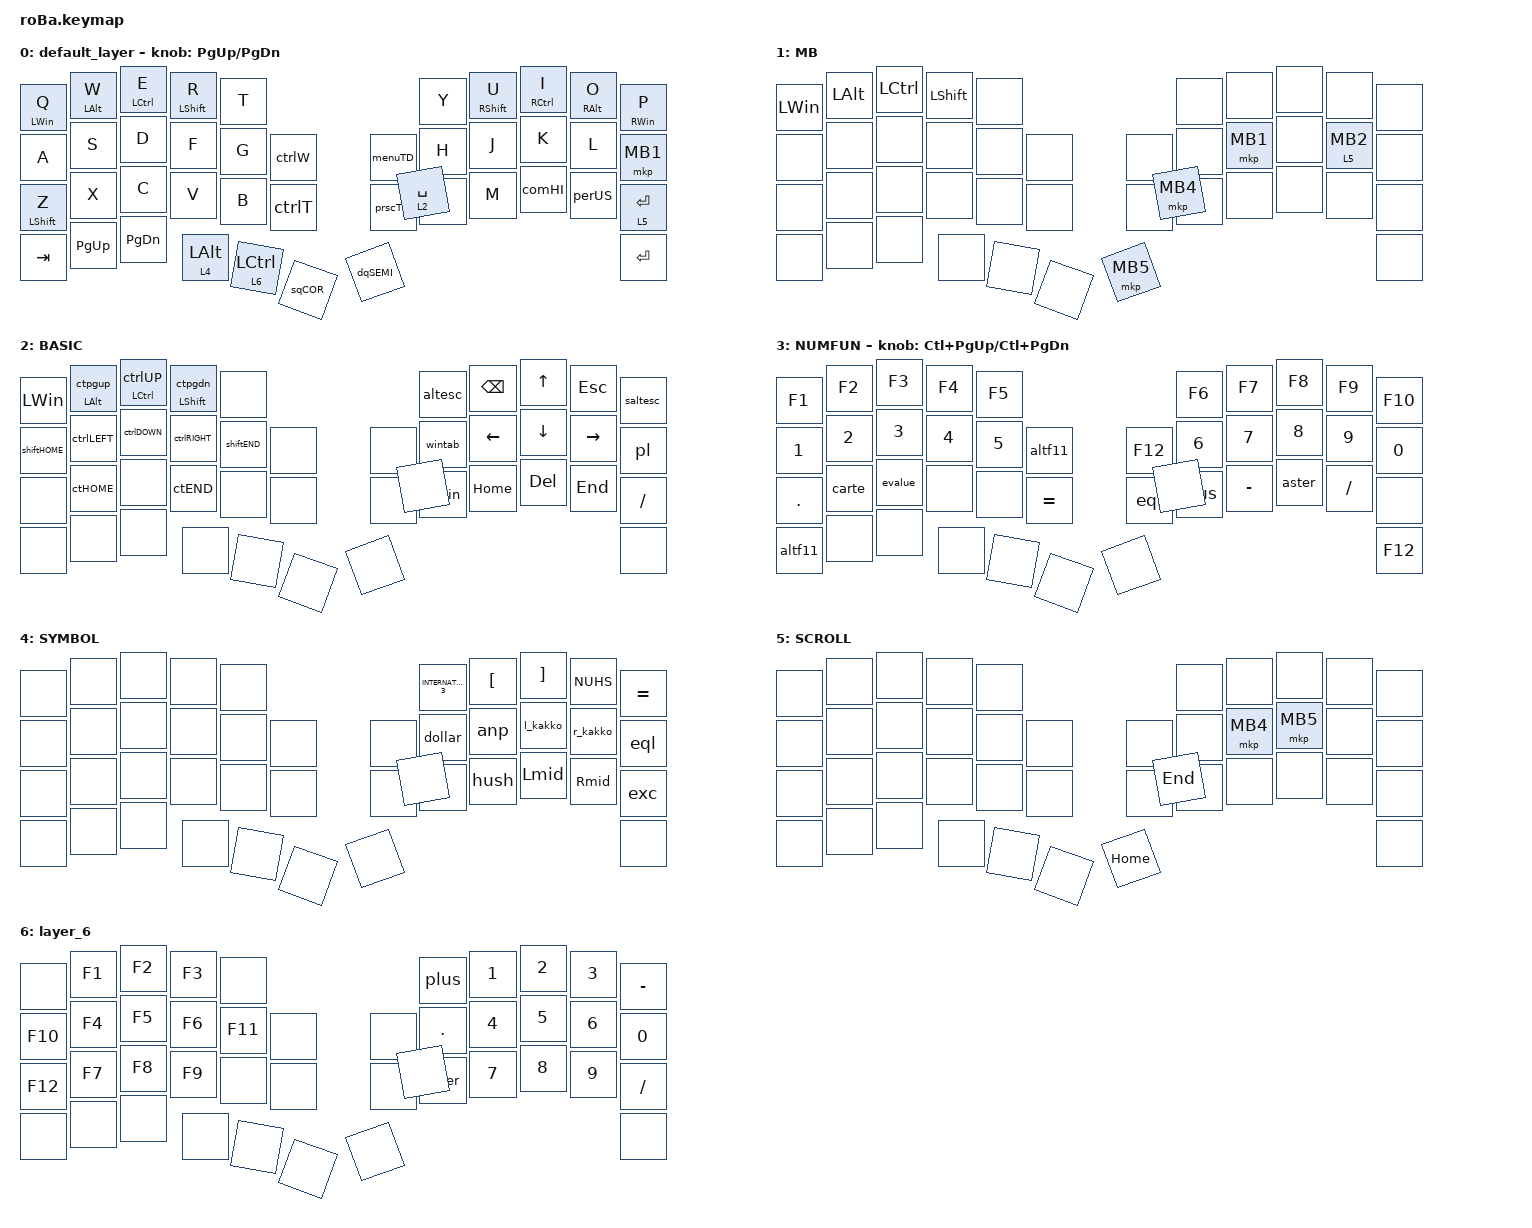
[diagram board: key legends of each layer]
#include <behaviors.dtsi>
#include <dt-bindings/zmk/keys.h>
#include <dt-bindings/zmk/pointing.h>

&mt {
    flavor = "balanced";
    quick-tap-ms = <0>;
};

&trackball {
    //    automouse-layer = <4>;

    scroll-layers = <5>;

    // arrows {
    //     layers = <3>;
    //     bindings =
    //         <&kp RIGHT_ARROW>,
    //         <&kp LEFT_ARROW>,
    //         <&kp UP_ARROW>,
    //         <&kp DOWN_ARROW>;
    //     tick = <10>;
    //     wait-ms = <5>;
    //     tap-ms = <5>;
    // };
};

/ {
    combos {
        compatible = "zmk,combos";

        endApp {
            bindings = <&altF4>;
            key-positions = <18 41>;
        };

        skey {
            bindings = <&sk LSHFT>;
            key-positions = <18 19>;
        };

        cw {
            bindings = <&CW>;
            key-positions = <6 7>;
        };

        inputMODE {
            bindings = <&kp GRAVE>;
            key-positions = <13 18>;
        };
    };

    behaviors {
        /* encoder_msc_down_up: encoder_msc_down_up {
            compatible = "zmk,behavior-sensor-rotate";
            label = "ENCODER_MSC_DOWN_UP";
            #sensor-binding-cells = <0>;
            bindings = <&msc SCRL_UP>, <&msc SCRL_DOWN>;

            tap-ms = <20>;
        }; */

        ctPLMI: ctPLMI {
            compatible = "zmk,behavior-sensor-rotate";
            label = "CTPLMI";
            #sensor-binding-cells = <0>;
            bindings = <&ctrlPLUS>, <&ctrlMINUS>;

            tap-ms = <20>;
        };

        idpass: idpass {
            compatible = "zmk,behavior-sensor-rotate";
            label = "IDPASS";
            #sensor-binding-cells = <0>;
            bindings = <&carte>, <&evalue>;

            tap-ms = <20>;
        };

        appch: appch {
            compatible = "zmk,behavior-sensor-rotate";
            label = "APPCH";
            #sensor-binding-cells = <0>;
            bindings = <&altesc>, <&saltesc>;

            tap-ms = <20>;
        };

        L_HRM: L_HRM {
            compatible = "zmk,behavior-hold-tap";
            label = "L_HRM";
            bindings = <&kp>, <&kp>;

            #binding-cells = <2>;
            tapping-term-ms = <400>;
            quick-tap-ms = <175>;
            require-prior-idle-ms = <200>;
            flavor = "balanced";
            hold-trigger-key-positions = <5 6 7 8 9 17 18 19 20 21 29 30 31 32 33 41 42 16 28 40>;
            hold-trigger-on-release;
        };

        R_HRM: R_HRM {
            compatible = "zmk,behavior-hold-tap";
            label = "R_HRM";
            bindings = <&kp>, <&kp>;

            #binding-cells = <2>;
            tapping-term-ms = <400>;
            quick-tap-ms = <175>;
            require-prior-idle-ms = <200>;
            flavor = "balanced";
            hold-trigger-key-positions = <0 1 2 3 4 10 11 12 13 14 15 22 23 24 25 26 27 34 35 36 37 38 39>;
            hold-trigger-on-release;
        };

        ML_SP: ML_SP {
            compatible = "zmk,behavior-hold-tap";
            label = "ML_SP";
            bindings = <&mo>, <&kp>;

            #binding-cells = <2>;
            tapping-term-ms = <180>;
            quick-tap-ms = <150>;
            require-prior-idle-ms = <200>;
            flavor = "balanced";
            hold-trigger-key-positions = <18 20 41 40>;
            hold-trigger-on-release;
        };

        THUMB_MT: THUMB_MT {
            compatible = "zmk,behavior-hold-tap";
            label = "THUMB_MT";
            bindings = <&mt>, <&kp>;

            #binding-cells = <2>;
            tapping-term-ms = <200>;
            flavor = "balanced";
        };

        THUMB_MO: THUMB_MO {
            compatible = "zmk,behavior-hold-tap";
            label = "THUMB_MO";
            bindings = <&mo>, <&kp>;

            #binding-cells = <2>;
            tapping-term-ms = <170>;
            flavor = "hold-preferred";
            hold-trigger-key-positions = <5 6 7 8 9 17 18 19 20 21 29 30 31 32 33 41 42 16 28 40>;
            hold-trigger-on-release;
        };

        SL_SP1: SL_SP1 {
            compatible = "zmk,behavior-hold-tap";
            label = "SL_SP1";
            bindings = <&mo>, <&kp>;

            #binding-cells = <2>;
            tapping-term-ms = <180>;
            flavor = "balanced";
        };

        SL_SP2: SL_SP2 {
            compatible = "zmk,behavior-hold-tap";
            label = "SL_SP2";
            bindings = <&mo>, <&mkp>;

            #binding-cells = <2>;
            tapping-term-ms = <180>;
            flavor = "balanced";
        };

        CW: CW {
            compatible = "zmk,behavior-caps-word";
            label = "CW";
            #binding-cells = <0>;
            continue-list = <A B C D E F G H I J K L M N O P Q R S T U V W X Y Z N1 N2 N3 N4 N5 N6 N7 N8 N9 N0 INT_RO BACKSPACE KP_MINUS>;
            mods = <(MOD_LSFT)>;
        };

        SHIFTCTPGDN: SHIFTCTPGDN {
            compatible = "zmk,behavior-hold-tap";
            label = "SHIFTCTPGDN";
            bindings = <&kp>, <&ctpgdn>;

            #binding-cells = <2>;
            tapping-term-ms = <180>;
            flavor = "balanced";
        };

        LALTCTPGUP: LALTCTPGUP {
            compatible = "zmk,behavior-hold-tap";
            label = "LALTCTPGUP";
            bindings = <&kp>, <&ctpgup>;

            #binding-cells = <2>;
            tapping-term-ms = <180>;
            flavor = "balanced";
        };

        SPL5: SPL5 {
            compatible = "zmk,behavior-hold-tap";
            label = "SPL5";
            bindings = <&mo>, <&mkp>;

            #binding-cells = <2>;
            tapping-term-ms = <180>;
            flavor = "balanced";
        };

        cosdq: cosdq {
            compatible = "zmk,behavior-tap-dance";
            label = "COSDQ";
            #binding-cells = <0>;
            bindings = <&kp COMMA>, <&dq>;
        };

        perisq: perisq {
            compatible = "zmk,behavior-tap-dance";
            label = "PERISQ";
            #binding-cells = <0>;
            bindings = <&kp PERIOD>, <&sq>;
        };

        hius: hius {
            compatible = "zmk,behavior-tap-dance";
            label = "HIUS";
            #binding-cells = <0>;
            bindings = <&kp MINUS>, <&us>;
        };

        slpl: slpl {
            compatible = "zmk,behavior-tap-dance";
            label = "SLPL";
            #binding-cells = <0>;
            bindings = <&kp SLASH>, <&pl>;
        };

        menuTD: menuTD {
            compatible = "zmk,behavior-tap-dance";
            label = "MENUTD";
            #binding-cells = <0>;
            bindings = <&kp K_CONTEXT_MENU>, <&shiftapp>;
        };

        prscTD: prscTD {
            compatible = "zmk,behavior-tap-dance";
            label = "PRSCTD";
            #binding-cells = <0>;
            bindings = <&kp PRINTSCREEN>, <&altprsc>;
        };

        SL_SP: SL_SP {
            compatible = "zmk,behavior-hold-tap";
            label = "SL_SP";
            bindings = <&mo>, <&none>;

            #binding-cells = <2>;
            tapping-term-ms = <1>;
            flavor = "balanced";
        };

        SP_CTPGUP: SP_CTPGUP {
            compatible = "zmk,behavior-hold-tap";
            label = "SP_CTPGUP";
            bindings = <&kp>, <&ctpgup>;

            #binding-cells = <2>;
            tapping-term-ms = <180>;
            flavor = "balanced";
            hold-trigger-key-positions = <17 18 19 20 21>;
        };

        SP_CTUP: SP_CTUP {
            compatible = "zmk,behavior-hold-tap";
            label = "SP_CTUP";
            bindings = <&kp>, <&ctrlUP>;

            #binding-cells = <2>;
            tapping-term-ms = <180>;
            flavor = "balanced";
            hold-trigger-key-positions = <18 19 20 7>;
        };

        SP_CTPGDN: SP_CTPGDN {
            compatible = "zmk,behavior-hold-tap";
            label = "SP_CTPGDN";
            bindings = <&kp>, <&ctpgdn>;

            #binding-cells = <2>;
            tapping-term-ms = <180>;
            flavor = "balanced";
            hold-trigger-key-positions = <18 19 20 7>;
        };

        TD_MB4: TD_MB4 {
            compatible = "zmk,behavior-tap-dance";
            label = "TD_MB4";
            #binding-cells = <0>;
            bindings = <&SL_SP 5 MB2>, <&mkp MB2>, <&mkp MB4>, <&mkp MB5>;
        };

        RT_SP: RT_SP {
            compatible = "zmk,behavior-hold-tap";
            label = "RT_SP";
            bindings = <&mo>, <&kp>;

            #binding-cells = <2>;
            tapping-term-ms = <170>;
            flavor = "hold-preferred";
            hold-trigger-key-positions = <2 1 3 11 12 23 10 14 13 25 24 38 18 7 19 20 30 31 32 8 6 21 17 5>;
            hold-trigger-on-release;
        };

        sqCOR: sqCOR {
            compatible = "zmk,behavior-tap-dance";
            label = "SQCOR";
            #binding-cells = <0>;
            bindings = <&sq>, <&kp APOSTROPHE>;
        };

        dqSEMI: dqSEMI {
            compatible = "zmk,behavior-tap-dance";
            label = "DQSEMI";
            #binding-cells = <0>;
            bindings = <&dq>, <&kp SEMI>;
        };

        comHI: comHI {
            compatible = "zmk,behavior-tap-dance";
            label = "COMHI";
            #binding-cells = <0>;
            bindings = <&kp COMMA>, <&kp MINUS>;
        };

        perUS: perUS {
            compatible = "zmk,behavior-tap-dance";
            label = "PERUS";
            #binding-cells = <0>;
            bindings = <&kp PERIOD>, <&us>;
        };
    };

    macros {
        exc: exc {
            compatible = "zmk,behavior-macro";
            #binding-cells = <0>;
            bindings =
                <&macro_press>,
                <&kp LSHFT>,
                <&macro_wait_time 15>,
                <&kp NUMBER_1>,
                <&macro_release>,
                <&kp NUMBER_1 &kp LSHFT>;

            label = "EXC";
        };

        dq: dq {
            compatible = "zmk,behavior-macro";
            #binding-cells = <0>;
            bindings =
                <&macro_press>,
                <&kp LSHFT>,
                <&macro_wait_time 15>,
                <&kp NUMBER_2>,
                <&macro_release>,
                <&kp NUMBER_2 &kp LSHFT>;

            label = "DQ";
        };

        hush: hush {
            compatible = "zmk,behavior-macro";
            #binding-cells = <0>;
            bindings =
                <&macro_press>,
                <&kp LSHFT>,
                <&macro_wait_time 15>,
                <&kp NUMBER_3>,
                <&macro_release>,
                <&kp NUMBER_3 &kp LSHFT>;

            label = "HUSH";
        };

        dollar: dollar {
            compatible = "zmk,behavior-macro";
            #binding-cells = <0>;
            bindings =
                <&macro_press>,
                <&kp LSHFT>,
                <&macro_wait_time 15>,
                <&kp NUMBER_4>,
                <&macro_release>,
                <&kp NUMBER_4 &kp LSHFT>;

            label = "DOLLAR";
        };

        percent: percent {
            compatible = "zmk,behavior-macro";
            #binding-cells = <0>;
            bindings =
                <&macro_press>,
                <&kp LSHFT>,
                <&macro_wait_time 15>,
                <&kp N5>,
                <&macro_release>,
                <&kp N5 &kp LSHFT>;

            label = "PERCENT";
        };

        anp: anp {
            compatible = "zmk,behavior-macro";
            #binding-cells = <0>;
            bindings =
                <&macro_press>,
                <&kp LSHFT>,
                <&macro_wait_time 15>,
                <&kp NUMBER_6>,
                <&macro_release>,
                <&kp NUMBER_6 &kp LSHFT>;

            label = "ANP";
        };

        sq: sq {
            compatible = "zmk,behavior-macro";
            #binding-cells = <0>;
            bindings =
                <&macro_press>,
                <&kp LSHFT>,
                <&macro_wait_time 15>,
                <&kp N7>,
                <&macro_release>,
                <&kp N7 &kp LSHFT>;

            label = "SQ";
        };

        l_kakko: l_kakko {
            compatible = "zmk,behavior-macro";
            #binding-cells = <0>;
            bindings =
                <&macro_press>,
                <&kp LSHFT>,
                <&macro_wait_time 15>,
                <&kp N8>,
                <&macro_release>,
                <&kp N8 &kp LSHFT>;

            label = "L_KAKKO";
        };

        r_kakko: r_kakko {
            compatible = "zmk,behavior-macro";
            #binding-cells = <0>;
            bindings =
                <&macro_press>,
                <&kp LSHFT>,
                <&macro_wait_time 15>,
                <&kp N9>,
                <&macro_release>,
                <&kp N9 &kp LSHFT>;

            label = "R_KAKKO";
        };

        us: us {
            compatible = "zmk,behavior-macro";
            #binding-cells = <0>;
            bindings =
                <&macro_press>,
                <&kp LSHFT>,
                <&macro_wait_time 15>,
                <&kp INTERNATIONAL_1>,
                <&macro_release>,
                <&kp INTERNATIONAL_1 &kp LSHFT>;

            label = "US";
        };

        pl: pl {
            compatible = "zmk,behavior-macro";
            #binding-cells = <0>;
            bindings =
                <&macro_press>,
                <&kp LSHFT>,
                <&macro_wait_time 15>,
                <&kp INTERNATIONAL_3>,
                <&macro_release>,
                <&kp INTERNATIONAL_3 &kp LSHFT>;

            label = "PL";
        };

        eql: eql {
            compatible = "zmk,behavior-macro";
            #binding-cells = <0>;
            bindings =
                <&macro_press>,
                <&kp LSHFT>,
                <&macro_wait_time 15>,
                <&kp MINUS>,
                <&macro_release>,
                <&kp MINUS &kp LSHFT>;

            label = "EQL";
        };

        tilde: tilde {
            compatible = "zmk,behavior-macro";
            #binding-cells = <0>;
            bindings =
                <&macro_press>,
                <&kp LSHFT>,
                <&macro_wait_time 15>,
                <&kp EQUAL>,
                <&macro_release>,
                <&kp EQUAL &kp LSHFT>;

            label = "TILDE";
        };

        plus: plus {
            compatible = "zmk,behavior-macro";
            #binding-cells = <0>;
            bindings =
                <&macro_press>,
                <&kp LSHFT>,
                <&macro_wait_time 15>,
                <&kp SEMI>,
                <&macro_release>,
                <&kp SEMI &kp LSHFT>;

            label = "PLUS";
        };

        aster: aster {
            compatible = "zmk,behavior-macro";
            #binding-cells = <0>;
            bindings =
                <&macro_press>,
                <&kp LSHFT>,
                <&macro_wait_time 15>,
                <&kp SINGLE_QUOTE>,
                <&macro_release>,
                <&kp SINGLE_QUOTE &kp LSHFT>;

            label = "ASTER";
        };

        altesc: altesc {
            compatible = "zmk,behavior-macro";
            #binding-cells = <0>;
            bindings =
                <&macro_press>,
                <&kp LEFT_ALT>,
                <&macro_wait_time 15>,
                <&kp ESCAPE>,
                <&macro_release>,
                <&kp ESCAPE &kp LEFT_ALT>;

            label = "ALTESC";
        };

        saltesc: saltesc {
            compatible = "zmk,behavior-macro";
            #binding-cells = <0>;
            bindings =
                <&macro_press>,
                <&kp LSHFT &kp LEFT_ALT>,
                <&macro_wait_time 15>,
                <&kp ESCAPE>,
                <&macro_release>,
                <&kp ESCAPE &kp LEFT_ALT &kp LSHFT>;

            label = "SALTESC";
        };

        ctpgup: ctpgup {
            compatible = "zmk,behavior-macro";
            #binding-cells = <0>;
            bindings =
                <&macro_press>,
                <&kp LCTRL>,
                <&macro_wait_time 15>,
                <&kp PG_UP>,
                <&macro_release>,
                <&kp PG_UP &kp LCTRL>;

            label = "CTPGUP";
        };

        ctpgdn: pgdn {
            compatible = "zmk,behavior-macro";
            #binding-cells = <0>;
            bindings =
                <&macro_press>,
                <&kp LCTRL>,
                <&macro_wait_time 15>,
                <&kp PAGE_DOWN>,
                <&macro_release>,
                <&kp PAGE_DOWN &kp LCTRL>;

            label = "PGDN";
        };

        Lmid: Lmid {
            compatible = "zmk,behavior-macro";
            #binding-cells = <0>;
            bindings =
                <&macro_press>,
                <&kp LSHFT>,
                <&macro_wait_time 15>,
                <&kp RBKT>,
                <&macro_release>,
                <&kp RBKT &kp LSHFT>;

            label = "LMID";
        };

        Rmid: Rmid {
            compatible = "zmk,behavior-macro";
            #binding-cells = <0>;
            bindings =
                <&macro_press>,
                <&kp LSHFT>,
                <&macro_wait_time 15>,
                <&kp NUHS>,
                <&macro_release>,
                <&kp NUHS &kp LSHFT>;

            label = "RMID";
        };

        wintab: wintab {
            compatible = "zmk,behavior-macro";
            #binding-cells = <0>;
            bindings =
                <&macro_press>,
                <&kp LWIN>,
                <&macro_wait_time 15>,
                <&kp TAB>,
                <&macro_release>,
                <&kp TAB &kp LWIN>;

            label = "WINTAB";
        };

        ctrlW: ctrlW {
            compatible = "zmk,behavior-macro";
            #binding-cells = <0>;
            bindings =
                <&macro_press>,
                <&kp LCTRL>,
                <&macro_wait_time 15>,
                <&kp W>,
                <&macro_release>,
                <&kp W &kp LCTRL>;

            label = "CTRLW";
        };

        altF4: altF4 {
            compatible = "zmk,behavior-macro";
            #binding-cells = <0>;
            bindings =
                <&macro_press>,
                <&kp LEFT_ALT>,
                <&macro_wait_time 15>,
                <&kp F4>,
                <&macro_release>,
                <&kp F4 &kp LEFT_ALT>;

            label = "ALTF4";
        };

        ctrlT: ctrlT {
            compatible = "zmk,behavior-macro";
            #binding-cells = <0>;
            bindings =
                <&macro_press>,
                <&kp LCTRL>,
                <&macro_wait_time 15>,
                <&kp T>,
                <&macro_release>,
                <&kp T &kp LCTRL>;

            label = "CTRLT";
        };

        carte: carte {
            compatible = "zmk,behavior-macro";
            #binding-cells = <0>;
            bindings =
                <&kp N3 &kp N7 &kp N0 &kp N8 &kp TAB>,
                <&macro_wait_time 10>,
                <&kp Q &kp W &kp E &kp R &kp T &kp Y &kp U &kp I &kp O &kp P &kp N1 &kp N2 &kp N3 &kp ENTER>;

            label = "CARTE";
        };

        evalue: evalue {
            compatible = "zmk,behavior-macro";
            #binding-cells = <0>;
            bindings =
                <&kp N3 &kp N7 &kp N0 &kp N8 &kp TAB>,
                <&macro_wait_time 10>,
                <&kp N0 &kp N8 &kp N6 &kp N2 &kp ENTER>;

            label = "EVALUE";
        };

        altF3: altF3 {
            compatible = "zmk,behavior-macro";
            #binding-cells = <0>;
            bindings =
                <&macro_press>,
                <&kp LEFT_ALT>,
                <&macro_wait_time 15>,
                <&kp F3>,
                <&macro_release>,
                <&kp F3 &kp LEFT_ALT>;

            label = "ALTF3";
        };

        altf11: altf11 {
            compatible = "zmk,behavior-macro";
            #binding-cells = <0>;
            bindings =
                <&macro_press>,
                <&kp LEFT_ALT>,
                <&macro_wait_time 15>,
                <&kp F11>,
                <&macro_release>,
                <&kp F11 &kp LEFT_ALT>;

            label = "ALTF11";
        };

        shiftapp: shiftapp {
            compatible = "zmk,behavior-macro";
            #binding-cells = <0>;
            bindings =
                <&macro_press>,
                <&kp LSHFT>,
                <&macro_wait_time 15>,
                <&kp K_CONTEXT_MENU>,
                <&macro_release>,
                <&kp K_CONTEXT_MENU &kp LSHFT>;

            label = "SHIFTAPP";
        };

        altprsc: altprsc {
            compatible = "zmk,behavior-macro";
            #binding-cells = <0>;
            bindings =
                <&macro_press>,
                <&kp LEFT_ALT>,
                <&macro_wait_time 15>,
                <&kp PRINTSCREEN>,
                <&macro_release>,
                <&kp PRINTSCREEN &kp LEFT_ALT>;

            label = "ALTPRSC";
        };

        shiftHOME: shiftHOME {
            compatible = "zmk,behavior-macro";
            #binding-cells = <0>;
            bindings =
                <&macro_press>,
                <&kp LSHFT>,
                <&macro_wait_time 15>,
                <&kp HOME>,
                <&macro_release>,
                <&kp HOME &kp LSHFT>;

            label = "SHIFTHOME";
        };

        shiftEND: shiftEND {
            compatible = "zmk,behavior-macro";
            #binding-cells = <0>;
            bindings =
                <&macro_press>,
                <&kp LSHFT>,
                <&macro_wait_time 15>,
                <&kp END>,
                <&macro_release>,
                <&kp END &kp LSHFT>;

            label = "SHIFTEND";
        };

        ctHOME: ctHOME {
            compatible = "zmk,behavior-macro";
            #binding-cells = <0>;
            bindings =
                <&macro_press>,
                <&kp LCTRL>,
                <&macro_wait_time 15>,
                <&kp HOME>,
                <&macro_release>,
                <&kp HOME &kp LCTRL>;

            label = "CTHOME";
        };

        ctEND: ctEND {
            compatible = "zmk,behavior-macro";
            #binding-cells = <0>;
            bindings =
                <&macro_press>,
                <&kp LCTRL>,
                <&macro_wait_time 15>,
                <&kp END>,
                <&macro_release>,
                <&kp END &kp LCTRL>;

            label = "CTEND";
        };

        ctrlPLUS: ctrlPLUS {
            compatible = "zmk,behavior-macro";
            #binding-cells = <0>;
            bindings =
                <&macro_press>,
                <&kp LCTRL &kp LSHFT>,
                <&macro_wait_time 15>,
                <&kp SEMI>,
                <&macro_release>,
                <&kp SEMI &kp LSHFT>;

            label = "CTRLPLUS";
        };

        ctrlMINUS: ctrlMINUS {
            compatible = "zmk,behavior-macro";
            #binding-cells = <0>;
            bindings =
                <&macro_press>,
                <&kp LCTRL>,
                <&macro_wait_time 15>,
                <&kp MINUS>,
                <&macro_release>,
                <&kp MINUS &kp LCTRL>;

            label = "CTRLMINUS";
        };

        ctrlUP: ctrlUP {
            compatible = "zmk,behavior-macro";
            #binding-cells = <0>;
            bindings =
                <&macro_press>,
                <&kp LCTRL>,
                <&macro_wait_time 15>,
                <&kp UP_ARROW>,
                <&macro_release>,
                <&kp UP_ARROW &kp LCTRL>;

            label = "CTRLUP";
        };

        ctrlDOWN: ctrlDOWN {
            compatible = "zmk,behavior-macro";
            #binding-cells = <0>;
            bindings =
                <&macro_press>,
                <&kp LCTRL>,
                <&macro_wait_time 15>,
                <&kp DOWN>,
                <&macro_release>,
                <&kp DOWN_ARROW &kp LCTRL>;

            label = "CTRLDOWN";
        };

        ctrlLEFT: ctrlLEFT {
            compatible = "zmk,behavior-macro";
            #binding-cells = <0>;
            bindings =
                <&macro_press>,
                <&kp LCTRL>,
                <&macro_wait_time 15>,
                <&kp LEFT_ARROW>,
                <&macro_release>,
                <&kp LEFT_ARROW &kp LCTRL>;

            label = "CTRLLEFT";
        };

        ctrlRIGHT: ctrlRIGHT {
            compatible = "zmk,behavior-macro";
            #binding-cells = <0>;
            bindings =
                <&macro_press>,
                <&kp LCTRL>,
                <&macro_wait_time 15>,
                <&kp RIGHT>,
                <&macro_release>,
                <&kp RIGHT &kp LCTRL>;

            label = "CTRLRIGHT";
        };
    };

    keymap {
        compatible = "zmk,keymap";

        default_layer {
            bindings = <
&L_HRM LWIN Q     &L_HRM LEFT_ALT W  &L_HRM LCTRL E  &L_HRM LSHFT R        &kp T                                   &kp Y           &R_HRM RSHFT U  &R_HRM RCTRL I  &R_HRM RIGHT_ALT O  &R_HRM RWIN P
&kp A             &kp S              &kp D           &kp F                 &kp G              &ctrlW      &menuTD  &kp H           &kp J           &kp K           &kp L               &mkp MB1
&mt LEFT_SHIFT Z  &kp X              &kp C           &kp V                 &kp B              &ctrlT      &prscTD  &kp N           &kp M           &comHI          &perUS              &THUMB_MO 5 ENTER
&kp TAB           &kp PG_UP          &kp PAGE_DOWN   &THUMB_MO 4 LEFT_ALT  &THUMB_MO 6 LCTRL  &sqCOR      &dqSEMI  &RT_SP 2 SPACE                                                      &kp ENTER
            >;

            sensor-bindings = <&inc_dec_kp PG_UP PAGE_DOWN>;
        };

        MB {
            bindings = <
&kp LWIN  &kp LEFT_ALT  &kp LCTRL  &kp LSHFT  &none                       &none     &none     &none  &none        &none
&none     &none         &none      &none      &none  &none      &none     &none     &mkp MB1  &none  &SPL5 5 MB2  &none
&none     &none         &none      &none      &none  &none      &none     &none     &none     &none  &none        &none
&none     &none         &none      &none      &none  &none      &mkp MB5  &mkp MB4                                &none
            >;
        };

        BASIC {
            bindings = <
&kp LWIN    &SP_CTPGUP LEFT_ALT 0  &SP_CTUP LCTRL 0  &SP_CTPGDN LSHFT 0  &none                        &altesc   &kp BSPC  &kp UP    &kp ESC    &saltesc
&shiftHOME  &ctrlLEFT              &ctrlDOWN         &ctrlRIGHT          &shiftEND  &none      &none  &wintab   &kp LEFT  &kp DOWN  &kp RIGHT  &pl
&none       &ctHOME                &none             &ctEND              &none      &none      &none  &kp RWIN  &kp HOME  &kp DEL   &kp END    &kp SLASH
&none       &none                  &none             &none               &none      &none      &none  &none                                    &none
            >;
        };

        NUMFUN {
            bindings = <
&kp F1   &kp F2  &kp F3   &kp F4  &kp F5                          &kp F6  &kp F7     &kp F8  &kp F9     &kp F10
&kp N1   &kp N2  &kp N3   &kp N4  &kp N5  &altf11        &kp F12  &kp N6  &kp N7     &kp N8  &kp N9     &kp N0
&kp DOT  &carte  &evalue  &none   &none   &kp EQUAL      &eql     &plus   &kp MINUS  &aster  &kp SLASH  &none
&altf11  &none   &none    &none   &none   &none          &none    &none                                 &kp F12
            >;

            sensor-bindings = <&inc_dec_kp LC(PAGE_UP) LC(PAGE_DOWN)>;
        };

        SYMBOL {
            bindings = <
&none  &none  &none  &none  &none                    &kp INTERNATIONAL_3  &kp LEFT_BRACKET  &kp RBKT  &kp NUHS  &kp EQUAL
&none  &none  &none  &none  &none  &none      &none  &dollar              &anp              &l_kakko  &r_kakko  &eql
&none  &none  &none  &none  &none  &none      &none  &none                &hush             &Lmid     &Rmid     &exc
&none  &none  &none  &none  &none  &none      &none  &none                                                      &none
            >;
        };

        SCROLL {
            bindings = <
&none  &none  &none  &none  &none                       &none    &none     &none     &none  &none
&none  &none  &none  &none  &none  &none      &none     &none    &mkp MB4  &mkp MB5  &none  &none
&none  &none  &none  &none  &none  &none      &none     &none    &none     &none     &none  &none
&none  &none  &none  &none  &none  &none      &kp HOME  &kp END                             &none
            >;
        };

        layer_6 {
            bindings = <
&none    &kp F1  &kp F2  &kp F3  &none                      &plus    &kp N1  &kp N2  &kp N3  &kp MINUS
&kp F10  &kp F4  &kp F5  &kp F6  &kp F11  &none      &none  &kp DOT  &kp N4  &kp N5  &kp N6  &kp N0
&kp F12  &kp F7  &kp F8  &kp F9  &none    &none      &none  &aster   &kp N7  &kp N8  &kp N9  &kp SLASH
&none    &none   &none   &none   &none    &none      &none  &none                            &none
            >;
        };
    };
};
